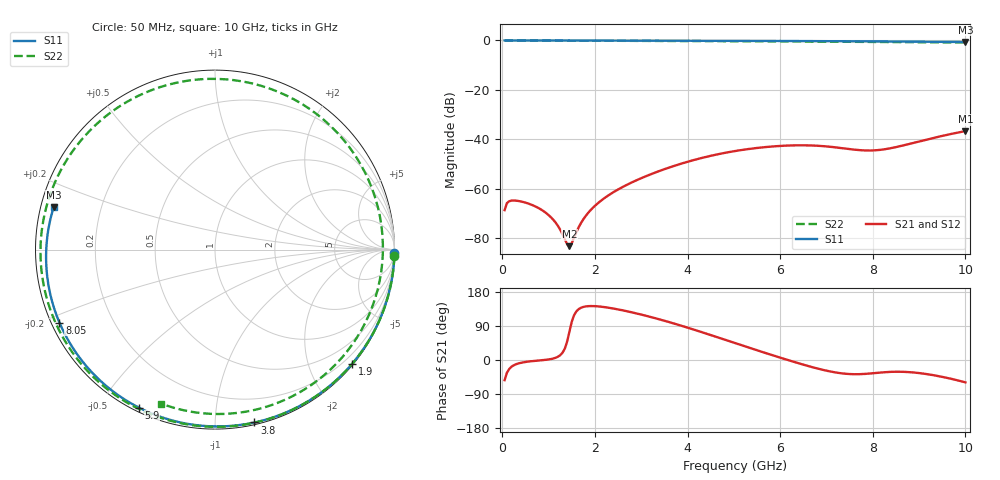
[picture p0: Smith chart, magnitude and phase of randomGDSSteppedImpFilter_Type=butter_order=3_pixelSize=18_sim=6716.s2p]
! freq	dB(S11)	phase(S11)	dB(S12)	phase(S12)
!  dB(S21)	phase(S21)	dB(S22)	phase(S22)
!S-par simulation data
#  GHz  S  DB  R 50
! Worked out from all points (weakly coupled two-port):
!   200 points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, 50 MHz to 10 GHz, reference 50 ohm
!   highest |S21| = -36.70 dB at 10 GHz (marker M1); lowest = -83.3 dB at 1.45 GHz (marker M2)
!   lowest |S11| = -0.6 dB at 10 GHz (marker M3), VSWR 27.35, Z = 1.86 + j6.4 ohm
!   |S11| at or under -10 dB: nowhere
!   |S22| runs from -0.8 to 0.0 dB; largest |S21 - S12| = 0
!   S11 on the Smith chart (normalised r, x): 50 MHz: open; 1.9 GHz: 0.03, -2.77; 3.8 GHz: 0.02, -1.25; 5.9 GHz: 0.02, -0.63; 8.05 GHz: 0.02, -0.22; 10 GHz: 0.04, +0.13
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0.05  -0.00 -1.1  -68.68 -53.3  -68.68 -53.3  -0.00 -2.1
0.1  -0.00 -2.1  -65.83 -33.5  -65.83 -33.5  -0.00 -4.2
0.2  -0.00 -4.3  -64.83 -17.6  -64.83 -17.6  -0.00 -8.5
0.65  -0.01 -13.8  -66.64 -2.9  -66.64 -2.9  -0.03 -27.4
1  -0.03 -21.2  -70.69 1.5  -70.69 1.5  -0.05 -41.8
1.35  -0.04 -28.4  -80.48 30.0  -80.48 30.0  -0.07 -56.0
1.45  -0.04 -30.5  -83.27 75.2  -83.27 75.2  -0.07 -60.0
1.55  -0.04 -32.6  -79.83 118.3  -79.83 118.3  -0.08 -63.9
1.75  -0.05 -36.7  -72.40 140.0  -72.40 140.0  -0.09 -71.8
1.9  -0.05 -39.7  -68.83 142.3  -68.83 142.3  -0.10 -77.6
2.6  -0.07 -53.8  -59.31 131.1  -59.31 131.1  -0.13 -104.2
3.4  -0.09 -69.5  -52.79 107.1  -52.79 107.1  -0.16 -133.9
3.8  -0.10 -77.2  -50.25 92.9  -50.25 92.9  -0.19 -148.8
4.45  -0.13 -89.4  -46.92 67.9  -46.92 67.9  -0.23 -173.7
5.05  -0.16 -100.4  -44.69 43.7  -44.69 43.7  -0.28 161.6
5.9  -0.20 -115.8  -42.82 10.0  -42.82 10.0  -0.37 121.8
6.7  -0.26 -130.1  -42.53 -19.1  -42.53 -19.1  -0.46 77.4
7.45  -0.32 -143.7  -43.87 -36.7  -43.87 -36.7  -0.54 30.5
8.05  -0.38 -154.8  -44.47 -34.5  -44.47 -34.5  -0.59 -7.7
8.35  -0.41 -160.5  -43.75 -31.5  -43.75 -31.5  -0.62 -26.0
9.15  -0.51 -176.4  -40.19 -36.9  -40.19 -36.9  -0.71 -70.0
10  -0.64 165.4  -36.70 -59.0  -36.70 -59.0  -0.83 -109.3
